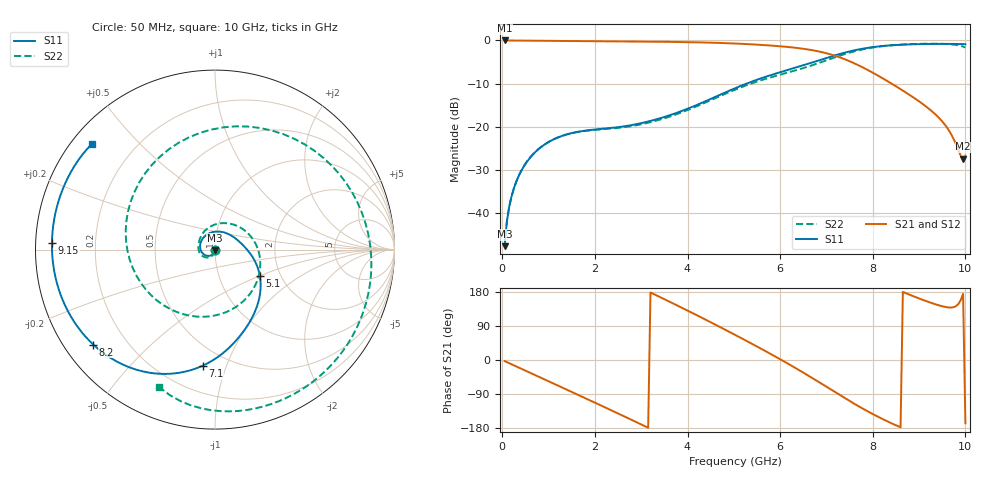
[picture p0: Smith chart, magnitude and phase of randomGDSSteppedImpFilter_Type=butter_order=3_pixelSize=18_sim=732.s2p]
! freq	dB(S11)	phase(S11)	dB(S12)	phase(S12)
!  dB(S21)	phase(S21)	dB(S22)	phase(S22)
!S-par simulation data
#  GHz  S  DB  R 50
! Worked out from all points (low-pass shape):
!   200 points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, 50 MHz to 10 GHz, reference 50 ohm
!   highest |S21| = 0.00 dB at 50 MHz (marker M1); lowest = -27.4 dB at 9.95 GHz (marker M2)
!   |S21| within 3 dB of the highest: start of sweep to 7.011 GHz
!   lowest |S11| = -47.7 dB at 50 MHz (marker M3), VSWR 1.01, Z = 50 - j0.412 ohm
!   |S11| at or under -10 dB: start of sweep to 5.275 GHz
!   |S22| runs from -47.7 to -0.8 dB; largest |S21 - S12| = 0
!   S11 on the Smith chart (normalised r, x): 50 MHz: 1.00, -0.01; 5.1 GHz: 1.57, -0.50; 7.1 GHz: 0.37, -0.83; 8.2 GHz: 0.08, -0.34; 9.15 GHz: 0.05, +0.02; 10 GHz: 0.06, +0.37
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0.05  -47.68 -92.5  -0.00 -2.8  -0.00 -2.8  -47.68 -91.8
0.1  -41.87 -96.2  -0.01 -5.7  -0.01 -5.7  -41.86 -94.9
0.2  -36.13 -103.1  -0.02 -11.3  -0.02 -11.3  -36.14 -100.4
0.5  -28.62 -122.4  -0.04 -28.1  -0.04 -28.1  -28.55 -115.0
1.15  -22.72 -165.6  -0.09 -64.6  -0.09 -64.6  -22.71 -146.2
1.75  -20.97 151.7  -0.15 -98.4  -0.15 -98.4  -21.02 -171.9
2.65  -19.88 82.9  -0.22 -149.7  -0.22 -149.7  -20.08 154.0
3.4  -18.06 33.9  -0.30 166.4  -0.30 166.4  -18.36 115.8
4.3  -14.50 -3.5  -0.46 112.1  -0.46 112.1  -14.80 45.5
5.05  -10.97 -28.8  -0.72 64.8  -0.72 64.8  -11.31 -22.6
5.1  -10.75 -30.5  -0.75 61.6  -0.75 61.6  -11.10 -27.2
5.55  -8.92 -45.9  -1.01 32.3  -1.01 32.3  -9.36 -70.2
6  -7.37 -60.7  -1.35 2.0  -1.35 2.0  -7.93 -116.4
6.7  -5.09 -82.4  -2.27 -48.0  -2.27 -48.0  -5.72 162.9
7.1  -3.73 -96.1  -3.27 -78.2  -3.27 -78.2  -4.22 114.7
7.6  -2.30 -116.1  -5.30 -115.4  -5.30 -115.4  -2.53 59.4
8.2  -1.31 -142.0  -8.69 -155.1  -8.69 -155.1  -1.33 5.8
8.35  -1.17 -148.5  -9.64 -163.9  -9.64 -163.9  -1.16 -5.4
9.15  -0.83 177.6  -15.30 155.5  -15.30 155.5  -0.76 -55.9
9.6  -0.79 158.2  -20.15 139.2  -20.15 139.2  -0.83 -81.8
9.95  -0.85 142.0  -27.42 174.4  -27.42 174.4  -1.42 -107.2
10  -0.88 139.6  -26.72 -166.9  -26.72 -166.9  -1.65 -112.1
